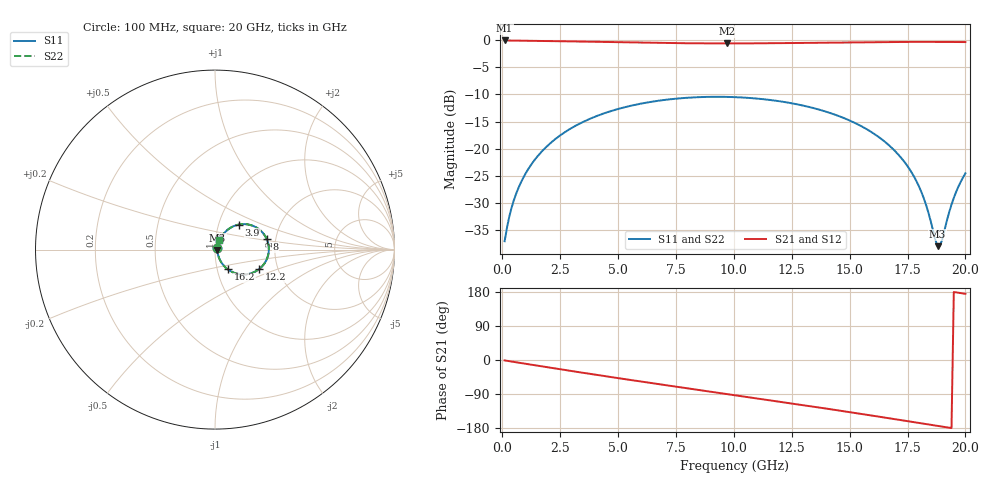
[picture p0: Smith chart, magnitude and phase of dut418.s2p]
! Touchstone file exported from HFSS 2026.1.0
!  File:  C:/ffzhzh/LocalFiles/Ansys_Project_Files/temp_train_TSV_RDL_418_1783095465_35180.aedt
!  Generated:  12:27:51 AM Jul  4, 2026
!  Design:  TSV_RDL
!  Project:  temp_train_TSV_RDL_418_1783095465_35180
! Variables:
!  h_bsmrdl = 2.6um
!  h_ox = 20um
!  h_rdl = 5um
!  h_sub = 80.68um
!  h_tmrdl = 3.14um
!  h_tsv = 80.68um
!  h_via = 3um
!  l_bsmrdl = 240.09um
!  l_sub = 3028.49um
!  l_tmrdl = 437.05um
!  m_sub = 200um
!  pitch = 42.92um
!  r_tsv = 10.81um
!  s_tmrdl = 10um
!  w_bsmrdl = 23.76um
!  w_sub = 500um
!  w_tmrdl = 29.58um
!  x_tsv_center1 = 451.84um
!  x_tsv_center2 = 715.69um
!  x_tsv_center3 = 1182.32um
!  x_tsv_center4 = 1446.17um
!  x_tsv_center5 = 1912.8um
!  x_tsv_center6 = 2176.65um
# GHz S MA R 50.000000
! Terminal data exported
! Port[1] = TM_RDL1_1_T1
! Port[2] = TM_RDL5_1_T1
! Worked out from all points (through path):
!   200 points, 100 MHz to 20 GHz, reference 50 ohm
!   highest |S21| = -0.11 dB at 100 MHz (marker M1); lowest = -0.7 dB at 9.7 GHz (marker M2)
!   group delay of S21, straight-line fit = 25.4 ps
!   lowest |S11| = -37.9 dB at 18.8 GHz (marker M3), VSWR 1.03, Z = 51.3 - j0.177 ohm
!   |S11| at or under -10 dB: start of sweep to end of sweep
!   |S22| runs from -38.1 to -10.5 dB; largest |S21 - S12| = 7.6e-14
!   S11 on the Smith chart (normalised r, x): 100 MHz: 1.03, +0.01; 3.9 GHz: 1.25, +0.36; 8 GHz: 1.79, +0.23; 12.2 GHz: 1.60, -0.37; 16.2 GHz: 1.12, -0.25; 20 GHz: 1.04, +0.12
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0.1  0.01417 27.9  0.9876 -1.1  0.9876 -1.1  0.01417 27.9
! Gamma 0 0 0 0
! Port Impedance 50 0 50 0
0.3  0.02372 50.4  0.9857 -3.1  0.9857 -3.1  0.02372 50.4
0.5  0.03376 57.8  0.9841 -5.1  0.9841 -5.1  0.03376 57.8
1.2  0.06909 63.4  0.9802 -11.9  0.9802 -11.9  0.06909 63.4
2.2  0.1185 59.3  0.974 -21.5  0.974 -21.5  0.1185 59.3
3.5  0.1769 49.6  0.9637 -33.9  0.9637 -33.9  0.1769 49.6
3.9  0.193 46.3  0.9603 -37.6  0.9603 -37.6  0.193 46.3
6.8  0.2772 21.7  0.937 -64.1  0.937 -64.1  0.2772 21.7
8  0.2941 11.6  0.9309 -74.7  0.9309 -74.7  0.2941 11.6
9.7  0.2995 -2.8  0.9277 -89.7  0.9277 -89.7  0.2994 -2.8
10.1  0.2976 -6.2  0.9279 -93.2  0.9279 -93.2  0.2976 -6.2
12.2  0.2684 -23.9  0.9339 -111.9  0.9339 -111.9  0.2684 -24.0
13.4  0.2376 -34.1  0.9401 -122.8  0.9401 -122.8  0.2376 -34.2
16.2  0.1308 -57.0  0.9548 -148.9  0.9548 -148.9  0.1308 -57.1
16.7  0.1077 -60.5  0.9565 -153.7  0.9565 -153.7  0.1077 -60.6
17.4  0.07414 -64.0  0.9581 -160.4  0.9581 -160.4  0.07409 -64.2
17.9  0.04974 -63.8  0.9586 -165.2  0.9586 -165.2  0.04966 -64.1
18.3  0.03058 -57.9  0.9585 -169.0  0.9585 -169.0  0.03045 -58.4
18.8  0.01276 -7.8  0.9579 -173.8  0.9579 -173.8  0.01246 -8.0
19  0.01473 33.1  0.9575 -175.8  0.9575 -175.8  0.01448 33.8
19.5  0.03541 66.0  0.9561 179.4  0.9561 179.4  0.03532 66.5
20  0.05951 69.9  0.9541 174.6  0.9541 174.6  0.05946 70.2
